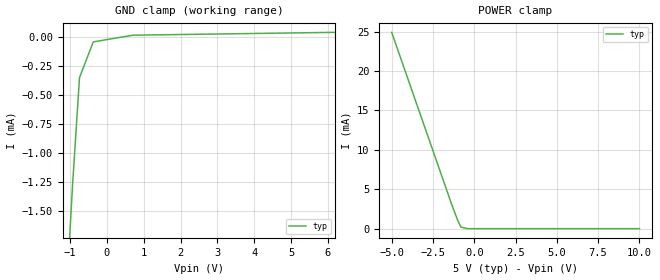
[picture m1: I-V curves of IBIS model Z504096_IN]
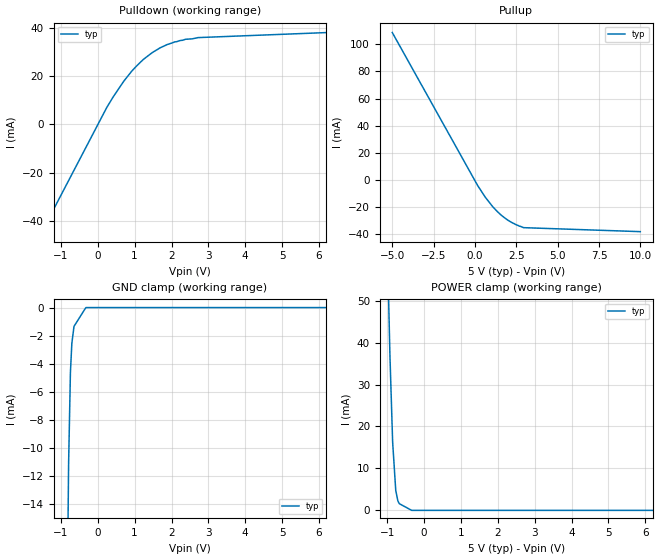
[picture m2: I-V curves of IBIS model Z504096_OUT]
| YOU ARE ONLY AUTHORIZED TO USE THIS SOFTWARE
| ACCORDING TO LICENSOR'S LICENSE RESTRICTIONS.
[IBIS Ver] 3.1
[File Name] mc54hc393j.ibs
[File Rev] 2.0
[Source] Measured and created by ICX Technology
[Date] Friday 7/14/00 9:08:06 AM
[Copyright]
| (C) COPYRIGHT 1993-2000
| MENTOR GRAPHICS CORPORATION
| ICX STANDARD LIBRARY, ICX PROJECT MODELING,
| ICX CUSTOM MODELING, ICX VENDOR MODEL
| ALL RIGHTS RESERVED.
| THE FOLLOWING ARE TRADEMARKS OR SERVICE MARKS OF
| MENTOR GRAPHICS CORPORATION:ICX (R), ICX STANDARD
| LIBRARY(R), ICX PROJECT MODELING(R), ICX CUSTOM
| MODELING(R), qualityIBIS(TM), MODELVIEWER(TM),
| AND MODELEDITOR(TM)
| ALL COPIES OF SOFTWARE, INCLUDING BUT NOT LIMITED TO
| ANY MODIFICATIONS, ENHANCEMENTS OR DERIVATIVE WORKS,
| MUST CONTAIN ALL MENTOR GRAPHICS CORPORATION'S
| NOTICES AND LEGENDS, INCLUDING THOSE EMBEDDED IN
| SOFTWARE AND THOSE AFFIXED TO SOFTWARE MEDIUM
| AND CONTAINER, AS RECEIVED FROM MENTOR GRAPHICS
| CORPORATION.
|  ZAP Model Builder 2.7
[Component] MC54HC393J
[Manufacturer] OnSemiconductor
[Package]
| variable   typ   min   max
R_pkg  .21ohms NA NA
L_pkg  4.543nH NA NA
C_pkg  1.8pF NA NA
[Pin] signal_name  model_name  R_pin  L_pin C_pin
1 _CLKA Z504096_IN .22 6.757n 2.434p
2 CLR Z504096_IN .212 4.757n 1.941p
3 QA Z504096_OUT .204 3.257n 1.448p
4 QB Z504096_OUT .196 2.257n .955p
5 QC Z504096_OUT .204 3.257n 1.448p
6 QD Z504096_OUT .212 4.757n 1.941p
7 GND GND .22 6.757n 2.434p
8 QD Z504096_OUT .22 6.757n 2.434p
9 QC Z504096_OUT .212 4.757n 1.941p
10 QB Z504096_OUT .204 3.257n 1.448p
11 QA Z504096_OUT .196 2.257n .955p
12 CLR Z504096_IN .204 3.257n 1.448p
13 _CLKA Z504096_IN .212 4.757n 1.941p
14 VCC POWER .22 6.757n 2.434p
| Models and submodels in the file (2): Z504096_IN (Input), Z504096_OUT (Output)
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| (C) COPYRIGHT 1993-2000
| MENTOR GRAPHICS CORPORATION
| ICX STANDARD LIBRARY, ICX PROJECT MODELING,
| ICX CUSTOM MODELING, ICX VENDOR MODEL
| ALL RIGHTS RESERVED.
| THE FOLLOWING ARE TRADEMARKS OR SERVICE MARKS OF
| MENTOR GRAPHICS CORPORATION:ICX (R), ICX STANDARD
| LIBRARY(R), ICX PROJECT MODELING(R), ICX CUSTOM
| MODELING(R), qualityIBIS(TM), MODELVIEWER(TM),
| AND MODELEDITOR(TM)
| ALL COPIES OF SOFTWARE, INCLUDING BUT NOT LIMITED TO
| ANY MODIFICATIONS, ENHANCEMENTS OR DERIVATIVE WORKS,
| MUST CONTAIN ALL MENTOR GRAPHICS CORPORATION'S
| NOTICES AND LEGENDS, INCLUDING THOSE EMBEDDED IN
| SOFTWARE AND THOSE AFFIXED TO SOFTWARE MEDIUM
| AND CONTAINER, AS RECEIVED FROM MENTOR GRAPHICS
| CORPORATION.
| Model Application Version 1.89 2/18/99.
[Model] Z504096_IN
Model_type Input
Vinl = 1.000V
Vinh = 3.500V
C_comp 4.000pF NA NA
| variable typ   min   max
[Voltage Range] 5.000V NA NA
[GND Clamp Reference] 0.000V NA NA
[POWER Clamp Reference] 5.000V NA NA
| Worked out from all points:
|   GND clamp passes 1 mA (typ) near -0.88 V on its own axis
|   POWER clamp passes 1 mA (typ) near -0.99 V on its own axis
[GND Clamp]
-5V       -25.36mA   NA         NA
-1.424V   -4.056mA   NA         NA
-935.9mV  -1.283mA   NA         NA
-746mV    -351.6uA   NA         NA
-373mV    -43.49uA   NA         NA
705.9mV   14.14uA    NA         NA
10V       55.95uA    NA         NA
[POWER Clamp]
-5V       24.89mA    NA         NA
-1.396V   3.243mA    NA         NA
-1.001V   1.032mA    NA         NA
-808mV    203.7uA    NA         NA
-404mV    0A         NA         NA
10V       0A         NA         NA
| (C) COPYRIGHT 1993-2000
| MENTOR GRAPHICS CORPORATION
| ICX STANDARD LIBRARY, ICX PROJECT MODELING,
| ICX CUSTOM MODELING, ICX VENDOR MODEL
| ALL RIGHTS RESERVED.
| THE FOLLOWING ARE TRADEMARKS OR SERVICE MARKS OF
| MENTOR GRAPHICS CORPORATION:ICX (R), ICX STANDARD
| LIBRARY(R), ICX PROJECT MODELING(R), ICX CUSTOM
| MODELING(R), qualityIBIS(TM), MODELVIEWER(TM),
| AND MODELEDITOR(TM)
| ALL COPIES OF SOFTWARE, INCLUDING BUT NOT LIMITED TO
| ANY MODIFICATIONS, ENHANCEMENTS OR DERIVATIVE WORKS,
| MUST CONTAIN ALL MENTOR GRAPHICS CORPORATION'S
| NOTICES AND LEGENDS, INCLUDING THOSE EMBEDDED IN
| SOFTWARE AND THOSE AFFIXED TO SOFTWARE MEDIUM
| AND CONTAINER, AS RECEIVED FROM MENTOR GRAPHICS
| CORPORATION.
| Model Application Version 1.89 2/18/99.
[Model] Z504096_OUT
Model_type Output
Vref=0.000V
Rref=500.0Mohms
Cref=50.00pF
Vmeas=2.500V
C_comp 8.000pF NA NA
| variable typ   min   max
[Voltage Range] 5.000V NA NA
[POWER Clamp Reference] 5.000V NA NA
[Pullup Reference] 5.000V NA NA
[Pulldown Reference] 0.000V NA NA
[GND Clamp Reference] 0.000V NA NA
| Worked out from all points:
|   slope of the pulldown table from 0 to 0.75 V, typ, clamps not added: 39.8 ohm
|   slope of the pullup table from 0 to 0.75 V, typ, clamps not added: 53 ohm
[GND Clamp]
-5V       -1.112A    NA         NA
-790.9mV  -11.09mA   NA         NA
-742.1mV  -4.628mA   NA         NA
-703.2mV  -2.543mA   NA         NA
-644.5mV  -1.334mA   NA         NA
-322.3mV  0A         NA         NA
10V       0A         NA         NA
[Pulldown]
-5V       -146mA     NA         NA
240.8mV   6.862mA    NA         NA
416.8mV   11.31mA    NA         NA
706.7mV   17.84mA    NA         NA
1.04V     23.91mA    NA         NA
1.236V    26.81mA    NA         NA
1.473V    29.58mA    NA         NA
1.886V    32.98mA    NA         NA
2.383V    35.15mA    NA         NA
2.721V    35.83mA    NA         NA
10V       40.17mA    NA         NA
[Pullup]
-5V       108.7mA    NA         NA
161mV     -4.137mA   NA         NA
630mV     -12.9mA    NA         NA
1.079V    -19.88mA   NA         NA
1.753V    -27.66mA   NA         NA
2.285V    -31.88mA   NA         NA
2.937V    -35.28mA   NA         NA
10V       -38.22mA   NA         NA
[POWER Clamp]
-5V       1.582A     NA         NA
-928mV    37.2mA     NA         NA
-854mV    16.35mA    NA         NA
-770mV    4.801mA    NA         NA
-712mV    2.259mA    NA         NA
-674mV    1.6mA      NA         NA
-337mV    0A         NA         NA
10V       0A         NA         NA
[Ramp]
| variable typ min max
dV/dt_r 2.740/1.382n NA NA
dV/dt_f 2.740/1.258n NA NA
R_load = 500.0Ohms
